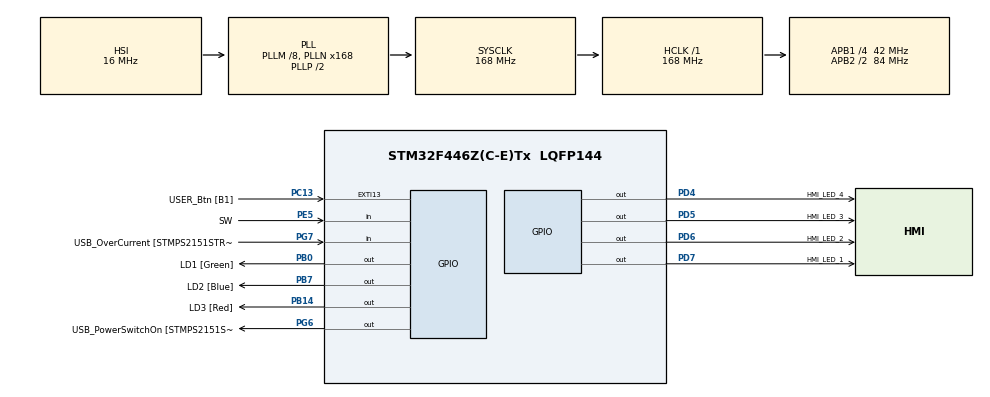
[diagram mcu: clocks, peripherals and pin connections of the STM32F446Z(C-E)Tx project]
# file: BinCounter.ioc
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Mcu.Family=STM32F4
Mcu.Name=STM32F446Z(C-E)Tx
Mcu.Package=LQFP144
NVIC.PriorityGroup=NVIC_PRIORITYGROUP_4
PA10.GPIO_Label=USB_ID
PA10.Signal=USB_OTG_FS_ID
PA11.GPIO_Label=USB_DM
PA11.Signal=USB_OTG_FS_DM
PA12.GPIO_Label=USB_DP
PA12.Signal=USB_OTG_FS_DP
PA13.GPIO_Label=TMS
PA13.Signal=SYS_JTMS-SWDIO
PA14.GPIO_Label=TCK
PA14.Signal=SYS_JTCK-SWCLK
PA8.GPIO_Label=USB_SOF [TP1]
PA8.Signal=USB_OTG_FS_SOF
PA9.GPIO_Label=USB_VBUS
PA9.Signal=USB_OTG_FS_VBUS
PB0.GPIO_Label=LD1 [Green]
PB0.Signal=GPIO_Output
PB14.GPIO_Label=LD3 [Red]
PB14.Signal=GPIO_Output
PB7.GPIO_Label=LD2 [Blue]
PB7.Signal=GPIO_Output
PC13.GPIO_Label=USER_Btn [B1]
PC13.Signal=GPXTI13
PC14-OSC32_IN.Signal=RCC_OSC32_IN
PC15-OSC32_OUT.Signal=RCC_OSC32_OUT
PD4.GPIO_Label=HMI_LED_4
PD4.Signal=GPIO_Output
PD5.GPIO_Label=HMI_LED_3
PD5.Signal=GPIO_Output
PD6.GPIO_Label=HMI_LED_2
PD6.Signal=GPIO_Output
PD7.GPIO_Label=HMI_LED_1
PD7.Signal=GPIO_Output
PD8.GPIO_Label=STLK_RX [STM32F103CBT6_PA3]
PD8.Signal=USART3_TX
PD9.GPIO_Label=STLK_TX [STM32F103CBT6_PA2]
PD9.Signal=USART3_RX
PE5.GPIO_Label=SW
PE5.GPIO_PuPd=GPIO_PULLDOWN
PE5.Signal=GPIO_Input
PG6.GPIO_Label=USB_PowerSwitchOn [STMPS2151STR_EN]
PG6.Signal=GPIO_Output
PG7.GPIO_Label=USB_OverCurrent [STMPS2151STR_FAULT]
PG7.Signal=GPIO_Input
PH0-OSC_IN.GPIO_Label=MCO [STM32F103CBT6_PA8]
PH0-OSC_IN.Signal=RCC_OSC_IN
PH1-OSC_OUT.Signal=RCC_OSC_OUT
ProjectManager.HeapSize=0x200
ProjectManager.StackSize=0x400
ProjectManager.TargetToolchain=STM32CubeIDE
RCC.48MHZClocksFreq_Value=24000000
RCC.AHBFreq_Value=168000000
RCC.APB1CLKDivider=RCC_HCLK_DIV4
RCC.APB1Freq_Value=42000000
RCC.APB1TimFreq_Value=84000000
RCC.APB2CLKDivider=RCC_HCLK_DIV2
RCC.APB2Freq_Value=84000000
RCC.APB2TimFreq_Value=168000000
RCC.CortexFreq_Value=168000000
RCC.HCLKFreq_Value=168000000
RCC.HSE_VALUE=8000000
RCC.HSI_VALUE=16000000
RCC.LSE_VALUE=32768
RCC.PLLM=8
RCC.PLLMUL=RCC_PLL_MUL9
RCC.PLLN=168
RCC.PRESCALERUSB=RCC_USBCLKSOURCE_PLL_DIV1_5
RCC.SYSCLKFreq_VALUE=168000000
RCC.SYSCLKSource=RCC_SYSCLKSOURCE_PLLCLK
RCC.SYSCLKSourceVirtual=RCC_SYSCLKSOURCE_PLLCLK
RCC.USBFreq_Value=168000000
RCC.VCOOutputFreq_Value=336000000
board=NUCLEO-F446ZE

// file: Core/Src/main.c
/* USER CODE BEGIN Header */
/**
  ******************************************************************************
  * @file           : main.c
  * @brief          : Main program body
  ******************************************************************************
  * @attention
  *
  * Copyright (c) 2026 STMicroelectronics.
  * All rights reserved.
  *
  * This software is licensed under terms that can be found in the LICENSE file
  * in the root directory of this software component.
  * If no LICENSE file comes with this software, it is provided AS-IS.
  *
  ******************************************************************************
  */
/* USER CODE END Header */
#include "main.h"

/* USER CODE BEGIN Includes */

#define DEBOUNCING_TRESHOLD 2000

/* USER CODE END Includes */

void SystemClock_Config(void);
static void MX_GPIO_Init(void);

int main(void)
{

  /* MCU Configuration--------------------------------------------------------*/

  /* Reset of all peripherals, Initializes the Flash interface and the Systick. */
  HAL_Init();

  /* Configure the system clock */
  SystemClock_Config();

  /* Initialize all configured peripherals */
  MX_GPIO_Init();
  /* USER CODE BEGIN 2 */

  uint32_t count_debounce = 0;
  uint8_t previous_state_debounce;
  uint8_t current_state_debounce = HAL_GPIO_ReadPin(SW_GPIO_Port,SW_Pin);
  uint8_t previous_state_edge = HAL_GPIO_ReadPin(SW_GPIO_Port, SW_Pin);

  uint8_t counter = 0;

  /* USER CODE END 2 */

  /* Infinite loop */
  /* USER CODE BEGIN WHILE */
  while (1)
  {

	  count_debounce = 0;

	  	  while (count_debounce < DEBOUNCING_TRESHOLD)
	  	  {
	  		  previous_state_debounce = current_state_debounce;

	  		  current_state_debounce = HAL_GPIO_ReadPin(SW_GPIO_Port, SW_Pin);

	  		  if (previous_state_debounce == current_state_debounce)
	  		  {
	  			  count_debounce++;
	  		  } else {
	  			  count_debounce = 0;
	  		  }
	  	  }

	  	  if (current_state_debounce && !previous_state_edge)
	  	  {
	  	   HAL_GPIO_WritePin(HMI_LED_1_GPIO_Port, HMI_LED_1_Pin, counter & 0x08 ? GPIO_PIN_SET : GPIO_PIN_RESET);
	  	   HAL_GPIO_WritePin(HMI_LED_2_GPIO_Port, HMI_LED_2_Pin, counter & 0x04 ? GPIO_PIN_SET : GPIO_PIN_RESET);
	  	   HAL_GPIO_WritePin(HMI_LED_3_GPIO_Port, HMI_LED_3_Pin, counter & 0x02 ? GPIO_PIN_SET : GPIO_PIN_RESET);
	  	   HAL_GPIO_WritePin(HMI_LED_4_GPIO_Port, HMI_LED_4_Pin, counter & 0x01 ? GPIO_PIN_SET : GPIO_PIN_RESET);
	  	   counter++;
	  	  }
	  	  previous_state_edge = current_state_debounce;
    /* USER CODE END WHILE */

  }
}

void SystemClock_Config(void)
{
  RCC_OscInitTypeDef RCC_OscInitStruct = {0};
  RCC_ClkInitTypeDef RCC_ClkInitStruct = {0};

  /** Configure the main internal regulator output voltage
  */
  __HAL_RCC_PWR_CLK_ENABLE();
  __HAL_PWR_VOLTAGESCALING_CONFIG(PWR_REGULATOR_VOLTAGE_SCALE1);

  /** Initializes the RCC Oscillators according to the specified parameters
  * in the RCC_OscInitTypeDef structure.
  */
  RCC_OscInitStruct.OscillatorType = RCC_OSCILLATORTYPE_HSI;
  RCC_OscInitStruct.HSIState = RCC_HSI_ON;
  RCC_OscInitStruct.HSICalibrationValue = RCC_HSICALIBRATION_DEFAULT;
  RCC_OscInitStruct.PLL.PLLState = RCC_PLL_ON;
  RCC_OscInitStruct.PLL.PLLSource = RCC_PLLSOURCE_HSI;
  RCC_OscInitStruct.PLL.PLLM = 8;
  RCC_OscInitStruct.PLL.PLLN = 168;
  RCC_OscInitStruct.PLL.PLLP = RCC_PLLP_DIV2;
  RCC_OscInitStruct.PLL.PLLQ = 2;
  RCC_OscInitStruct.PLL.PLLR = 2;
  if (HAL_RCC_OscConfig(&RCC_OscInitStruct) != HAL_OK)
  {
    Error_Handler();
  }

  /** Initializes the CPU, AHB and APB buses clocks
  */
  RCC_ClkInitStruct.ClockType = RCC_CLOCKTYPE_HCLK|RCC_CLOCKTYPE_SYSCLK
                              |RCC_CLOCKTYPE_PCLK1|RCC_CLOCKTYPE_PCLK2;
  RCC_ClkInitStruct.SYSCLKSource = RCC_SYSCLKSOURCE_PLLCLK;
  RCC_ClkInitStruct.AHBCLKDivider = RCC_SYSCLK_DIV1;
  RCC_ClkInitStruct.APB1CLKDivider = RCC_HCLK_DIV4;
  RCC_ClkInitStruct.APB2CLKDivider = RCC_HCLK_DIV2;

  if (HAL_RCC_ClockConfig(&RCC_ClkInitStruct, FLASH_LATENCY_5) != HAL_OK)
  {
    Error_Handler();
  }
}

static void MX_GPIO_Init(void)
{
  GPIO_InitTypeDef GPIO_InitStruct = {0};

  /* GPIO Ports Clock Enable */
  __HAL_RCC_GPIOE_CLK_ENABLE();
  __HAL_RCC_GPIOC_CLK_ENABLE();
  __HAL_RCC_GPIOH_CLK_ENABLE();
  __HAL_RCC_GPIOB_CLK_ENABLE();
  __HAL_RCC_GPIOD_CLK_ENABLE();
  __HAL_RCC_GPIOG_CLK_ENABLE();
  __HAL_RCC_GPIOA_CLK_ENABLE();

  /*Configure GPIO pin Output Level */
  HAL_GPIO_WritePin(GPIOB, LD1_Pin|LD3_Pin|LD2_Pin, GPIO_PIN_RESET);

  /*Configure GPIO pin Output Level */
  HAL_GPIO_WritePin(USB_PowerSwitchOn_GPIO_Port, USB_PowerSwitchOn_Pin, GPIO_PIN_RESET);

  /*Configure GPIO pin Output Level */
  HAL_GPIO_WritePin(GPIOD, HMI_LED_4_Pin|HMI_LED_3_Pin|HMI_LED_2_Pin|HMI_LED_1_Pin, GPIO_PIN_RESET);

  /*Configure GPIO pin : SW_Pin */
  GPIO_InitStruct.Pin = SW_Pin;
  GPIO_InitStruct.Mode = GPIO_MODE_INPUT;
  GPIO_InitStruct.Pull = GPIO_PULLDOWN;
  HAL_GPIO_Init(SW_GPIO_Port, &GPIO_InitStruct);

  /*Configure GPIO pin : USER_Btn_Pin */
  GPIO_InitStruct.Pin = USER_Btn_Pin;
  GPIO_InitStruct.Mode = GPIO_MODE_IT_RISING;
  GPIO_InitStruct.Pull = GPIO_NOPULL;
  HAL_GPIO_Init(USER_Btn_GPIO_Port, &GPIO_InitStruct);

  /*Configure GPIO pins : LD1_Pin LD3_Pin LD2_Pin */
  GPIO_InitStruct.Pin = LD1_Pin|LD3_Pin|LD2_Pin;
  GPIO_InitStruct.Mode = GPIO_MODE_OUTPUT_PP;
  GPIO_InitStruct.Pull = GPIO_NOPULL;
  GPIO_InitStruct.Speed = GPIO_SPEED_FREQ_LOW;
  HAL_GPIO_Init(GPIOB, &GPIO_InitStruct);

  /*Configure GPIO pins : STLK_RX_Pin STLK_TX_Pin */
  GPIO_InitStruct.Pin = STLK_RX_Pin|STLK_TX_Pin;
  GPIO_InitStruct.Mode = GPIO_MODE_AF_PP;
  GPIO_InitStruct.Pull = GPIO_NOPULL;
  GPIO_InitStruct.Speed = GPIO_SPEED_FREQ_VERY_HIGH;
  GPIO_InitStruct.Alternate = GPIO_AF7_USART3;
  HAL_GPIO_Init(GPIOD, &GPIO_InitStruct);

  /*Configure GPIO pin : USB_PowerSwitchOn_Pin */
  GPIO_InitStruct.Pin = USB_PowerSwitchOn_Pin;
  GPIO_InitStruct.Mode = GPIO_MODE_OUTPUT_PP;
  GPIO_InitStruct.Pull = GPIO_NOPULL;
  GPIO_InitStruct.Speed = GPIO_SPEED_FREQ_LOW;
  HAL_GPIO_Init(USB_PowerSwitchOn_GPIO_Port, &GPIO_InitStruct);

  /*Configure GPIO pin : USB_OverCurrent_Pin */
  GPIO_InitStruct.Pin = USB_OverCurrent_Pin;
  GPIO_InitStruct.Mode = GPIO_MODE_INPUT;
  GPIO_InitStruct.Pull = GPIO_NOPULL;
  HAL_GPIO_Init(USB_OverCurrent_GPIO_Port, &GPIO_InitStruct);

  /*Configure GPIO pins : USB_SOF_Pin USB_ID_Pin USB_DM_Pin USB_DP_Pin */
  GPIO_InitStruct.Pin = USB_SOF_Pin|USB_ID_Pin|USB_DM_Pin|USB_DP_Pin;
  GPIO_InitStruct.Mode = GPIO_MODE_AF_PP;
  GPIO_InitStruct.Pull = GPIO_NOPULL;
  GPIO_InitStruct.Speed = GPIO_SPEED_FREQ_VERY_HIGH;
  GPIO_InitStruct.Alternate = GPIO_AF10_OTG_FS;
  HAL_GPIO_Init(GPIOA, &GPIO_InitStruct);

  /*Configure GPIO pin : USB_VBUS_Pin */
  GPIO_InitStruct.Pin = USB_VBUS_Pin;
  GPIO_InitStruct.Mode = GPIO_MODE_INPUT;
  GPIO_InitStruct.Pull = GPIO_NOPULL;
  HAL_GPIO_Init(USB_VBUS_GPIO_Port, &GPIO_InitStruct);

  /*Configure GPIO pins : HMI_LED_4_Pin HMI_LED_3_Pin HMI_LED_2_Pin HMI_LED_1_Pin */
  GPIO_InitStruct.Pin = HMI_LED_4_Pin|HMI_LED_3_Pin|HMI_LED_2_Pin|HMI_LED_1_Pin;
  GPIO_InitStruct.Mode = GPIO_MODE_OUTPUT_PP;
  GPIO_InitStruct.Pull = GPIO_NOPULL;
  GPIO_InitStruct.Speed = GPIO_SPEED_FREQ_LOW;
  HAL_GPIO_Init(GPIOD, &GPIO_InitStruct);

}

void Error_Handler(void)
{
  __disable_irq();
  while (1)
  {
  }
}
